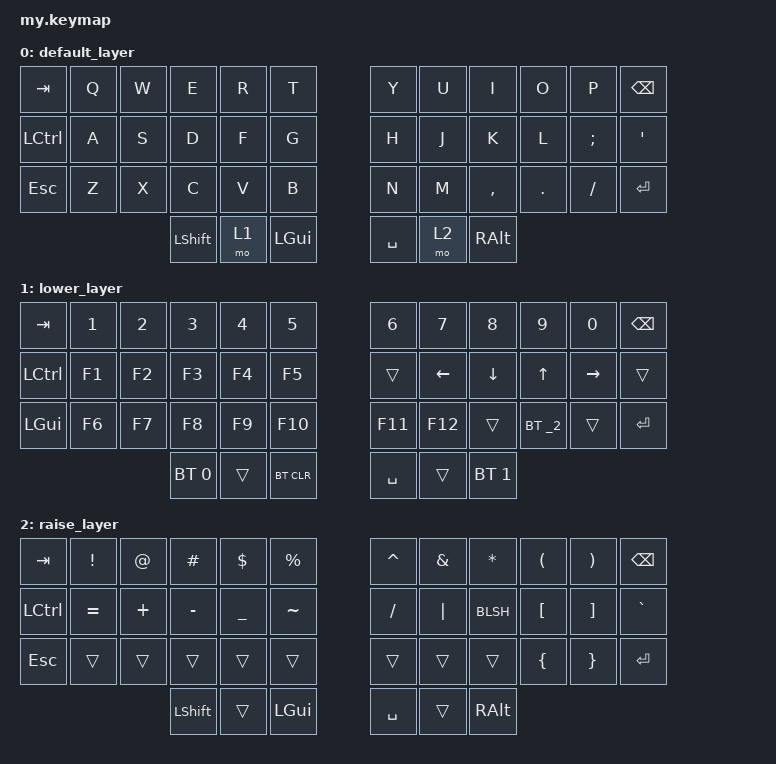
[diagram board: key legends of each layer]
/*
 * Copyright (c) 2020 The ZMK Contributors
 *
 * SPDX-License-Identifier: MIT
 */

#include <behaviors.dtsi>
#include <dt-bindings/zmk/keys.h>
#include <dt-bindings/zmk/bt.h>

/ {
        keymap {
                compatible = "zmk,keymap";
                default_layer {
// -----------------------------------------------------------------------------------------
// |  TAB |  Q  |  W  |  E  |  R  |  T  |   |  Y  |  U   |  I  |  O  |  P  | BKSP |
// | CTRL |  A  |  S  |  D  |  F  |  G  |   |  H  |  J   |  K  |  L  |  ;  |  '   |
// | ESC  |  Z  |  X  |  C  |  V  |  B  |   |  N  |  M   |  ,  |  .  |  /  | RET  |
//                    | SHFT| LWR | GUI |   | SPC | RSE  | ALT |
                        bindings = <
   &kp TAB       &kp Q     &kp W     &kp E     &kp R     &kp T        &kp Y     &kp U      &kp I         &kp O       &kp P        &kp BSPC
   &kp LCTRL     &kp A     &kp S     &kp D     &kp F     &kp G        &kp H     &kp J      &kp K         &kp L       &kp SEMI     &kp SQT
   &kp ESC       &kp Z     &kp X     &kp C     &kp V     &kp B        &kp N     &kp M      &kp COMMA     &kp DOT     &kp FSLH     &kp RET
                                     &kp LSHFT &mo 1     &kp LGUI     &kp SPACE &mo 2      &kp RALT
                        >;
                };
                lower_layer {
// -----------------------------------------------------------------------------------------
// |  TAB |  1  |  2  |  3  |  4  |  5  |   |  6  |  7  |  8  |  9  |  0  | BKSP |
// | CTRL |  F1 |  F2 |  F3 | F4  |  F5 |   |     | LFT | DWN |  UP | RGT |      |
// |  ESC |  F6 |  F7 |  F8 | F9  | F10 |   | F11 | F12 |     | BT2 |     | RET  |
//                    | BT0 |     | BTCL|   | SPC |     | BT1 |
                        bindings = <
   &kp TAB        &kp N1       &kp N2       &kp N3       &kp N4        &kp N5              &kp N6    &kp N7    &kp N8     &kp N9        &kp N0      &kp BSPC
   &kp LCTRL      &kp F1       &kp F2       &kp F3       &kp F4        &kp F5              &trans    &kp LEFT  &kp DOWN   &kp UP        &kp RIGHT   &trans
   &kp LGUI       &kp F6       &kp F7       &kp F8       &kp F9        &kp F10             &kp F11   &kp F12   &trans     &bt BT_SEL_2  &trans      &kp RET
                                            &bt BT_SEL 0 &trans        &bt BT_CLR          &kp SPACE &trans    &bt BT_SEL 1
                        >;
                };

                raise_layer {
// -----------------------------------------------------------------------------------------
// |  TAB |  !  |  @  |  #  |  $  |  %  |   |  ^  |  &  |  *  |  (  |  )  | BKSP |
// | CTRL |  =  |  +  |  -  |  _  |  ~  |   |  /  |  |  |  \  |  [  |  ]  |  `   |
// | ESC  |     |     |     |     |     |   |     |     |     |  {  |  }  |  RET |
//                    | SHFT|     | GUI |   | SPC |     | ALT |
                        bindings = <
   &kp TAB   &kp EXCL    &kp AT   &kp HASH    &kp DLLR         &kp PRCNT      &kp CARET   &kp AMPS   &kp ASTERISK      &kp LPAR   &kp RPAR   &kp BSPC
   &kp LCTRL &kp EQUAL   &kp PLUS &kp MINUS   &kp UNDERSCORE   &kp TILDE      &kp FSLH    &kp PIPE   &kp BLSH          &kp LBKT   &kp RBKT   &kp GRAVE
   &kp ESC   &trans      &trans   &trans      &trans           &trans         &trans      &trans     &trans            &kp LBRC   &kp RBRC   &kp RET
                                  &kp LSHFT   &trans           &kp LGUI       &kp SPACE   &trans     &kp RALT
                        >;
                };
        };
};
